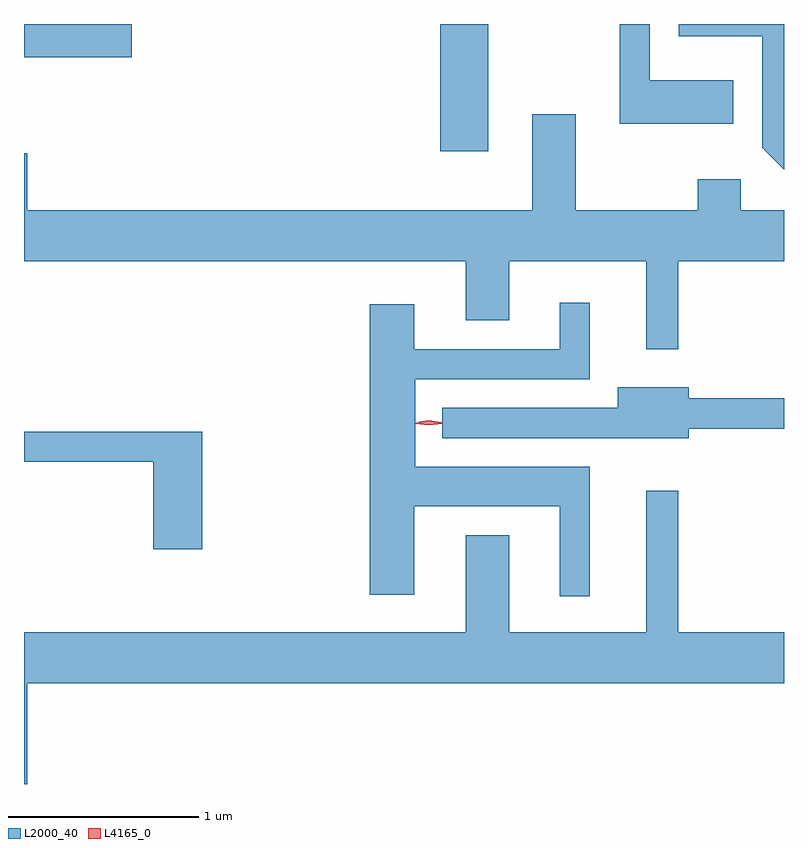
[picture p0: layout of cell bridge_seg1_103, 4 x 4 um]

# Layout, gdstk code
import gdstk
lib = gdstk.Library(unit=1e-6, precision=1e-09)
def R(c, l, rs):  # rectangles x0, y0, x1, y1
    for r in rs: c.add(gdstk.rectangle(r[:2], r[2:], *l))
def P(c, l, *ps):  # polygons
    for p in ps: c.add(gdstk.Polygon(p, *l))
L2000_40 = (2000, 40)
L4165_0 = (4165, 0)

bridge_seg1_103 = lib.new_cell('bridge_seg1_103')
R(bridge_seg1_103, L2000_40, [(1176.556,922.356,1176.809,923.025), (1174.366,922.851,1174.934,923.025)])
P(bridge_seg1_103, L2000_40, [(1178.366,923.025),(1177.811,923.025),(1177.811,922.961),(1178.251,922.961),(1178.251,922.374),(1178.366,922.259)],
  [(1178.099,922.729),(1177.659,922.729),(1177.659,923.025),(1177.501,923.025),(1177.501,922.501),(1178.099,922.501)],
  [(1177.809,921.776),(1178.366,921.776),(1178.366,922.044),(1178.139,922.044),(1178.139,922.209),(1177.911,922.209),(1177.911,922.044),(1177.269,922.044),(1177.269,922.549),(1177.041,922.549),(1177.041,922.044),(1174.384,922.044),(1174.384,922.344),(1174.366,922.344),(1174.366,921.776),(1176.691,921.776),(1176.691,921.466),(1176.919,921.466),(1176.919,921.776),(1177.641,921.776),(1177.641,921.313),(1177.809,921.313)],
  [(1177.344,920.694),(1176.424,920.694),(1176.424,921.156),(1177.344,921.156),(1177.344,921.558),(1177.186,921.558),(1177.186,921.314),(1176.419,921.314),(1176.419,921.549),(1176.186,921.549),(1176.186,920.021),(1176.419,920.021),(1176.419,920.486),(1177.186,920.486),(1177.186,920.013),(1177.344,920.013)],
  [(1177.864,920.896),(1178.366,920.896),(1178.366,921.054),(1177.864,921.054),(1177.864,921.114),(1177.491,921.114),(1177.491,921.004),(1176.568,921.004),(1176.568,920.846),(1177.864,920.846)],
  [(1175.304,920.879),(1174.366,920.879),(1174.366,920.721),(1175.046,920.721),(1175.046,920.261),(1175.304,920.261)],
  [(1174.384,919.556),(1178.366,919.556),(1178.366,919.824),(1177.809,919.824),(1177.809,920.568),(1177.641,920.568),(1177.641,919.824),(1176.919,919.824),(1176.919,920.334),(1176.691,920.334),(1176.691,919.824),(1174.366,919.824),(1174.366,919.025),(1174.384,919.025)])
P(bridge_seg1_103, L4165_0, [(1176.497,920.912),(1176.428,920.922),(1176.427,920.922),(1176.428,920.923),(1176.497,920.932),(1176.566,920.923),(1176.566,920.922),(1176.566,920.922)],
  [(1176.496,920.919),(1176.431,920.93),(1176.43,920.93),(1176.431,920.93),(1176.497,920.939),(1176.562,920.928),(1176.563,920.928),(1176.562,920.927)])

lib.write_gds('bridge_seg1_103.gds')
